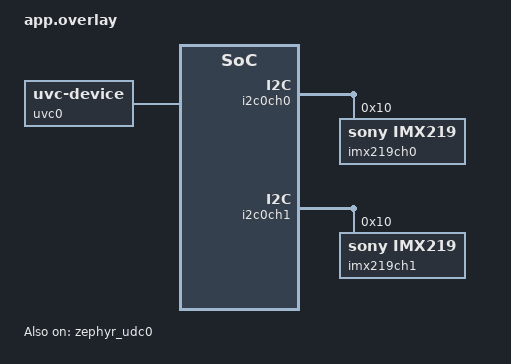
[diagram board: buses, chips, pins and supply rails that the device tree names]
/*
 * Copyright (c) 2025 tinyVision.ai Inc.
 *
 * SPDX-License-Identifier: Apache-2.0
 */

#include <riscv/tinyvision/from_csi0_to_stats0.dtsi>
#include <riscv/tinyvision/from_csi0_to_stacker.dtsi>

#include <riscv/tinyvision/from_csi1_to_stats1.dtsi>
#include <riscv/tinyvision/from_csi1_to_stacker.dtsi>

#include <riscv/tinyvision/from_stacker_to_debayer0.dtsi>
#include <riscv/tinyvision/from_debayer0_to_uvcmanager0.dtsi>

#include <riscv/tinyvision/add_i2c0_pll.dtsi>
#include <riscv/tinyvision/add_i2c0_multiplexer.dtsi>

/* USB interfaces */

&zephyr_udc0 {
	num-in-endpoints = <2>;
	num-out-endpoints = <1>;
	status = "okay";

	uvc0: uvc0 {
		compatible = "zephyr,uvc-device";
		interface-name = "tinyCLUNX33-IMX219";
	};
};

&uvcmanager0 {
	usb-endpoint = <0x81>;
};

/* Camera 0 config */

&csi0_ep_in {
	remote-endpoint-label = "imx219ch0_ep_out";
};

&i2c0ch0 {
	imx219ch0: imx219@10 {
		compatible = "sony,imx219";
		reg = <0x10>;

		port {
			imx219ch0_ep_out: endpoint {
				remote-endpoint-label = "csi0_ep_in";
			};
		};
	};
};

&csi1_ep_in {
	remote-endpoint-label = "imx219ch1_ep_out";
};

&i2c0ch1 {
	imx219ch1: imx219@10 {
		compatible = "sony,imx219";
		reg = <0x10>;

		port {
			imx219ch1_ep_out: endpoint {
				remote-endpoint-label = "csi1_ep_in";
			};
		};
	};
};

&stacker {
	start-delay-us = <30>;
};
